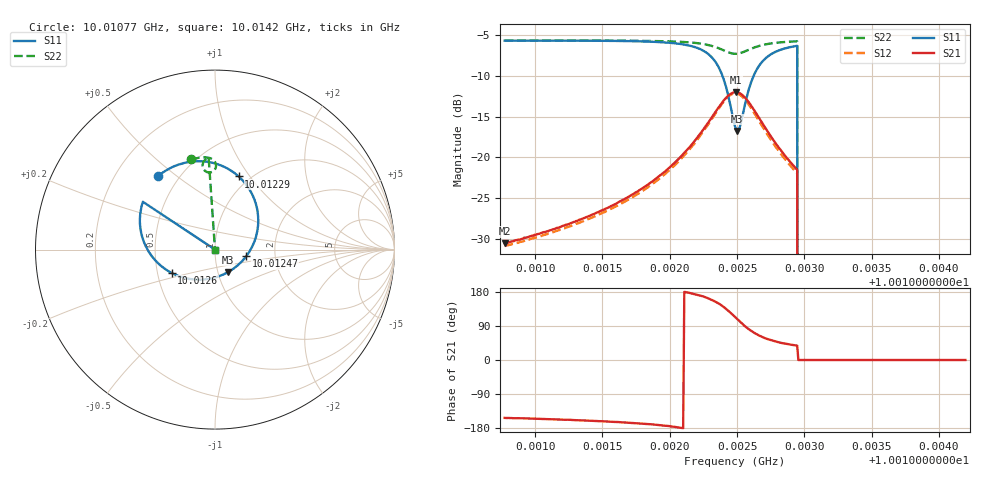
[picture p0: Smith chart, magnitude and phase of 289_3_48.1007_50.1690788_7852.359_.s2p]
#  HZ  S  RI  R  50.00
! Rohde & Schwarz Vector Network Analyzer
! Rohde-Schwarz,ZNB20-2Port,1311601062101988,3.16
! Created: UTC 12/23/2023, 4:03:34 AM
! freq[Hz]  re:S11  im:S11  re:S21  im:S21  re:S12  im:S12  re:S22  im:S22
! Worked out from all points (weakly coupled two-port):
!   401 points, 10.01077 GHz to 10.0142 GHz, reference 50 ohm
!   highest |S21| = -12.02 dB at 10.01249 GHz (marker M1); lowest = -30.6 dB at 10.01077 GHz (marker M2)
!   lowest |S11| = -16.8 dB at 10.0125 GHz (marker M3), VSWR 1.34, Z = 56.1 - j14.3 ohm
!   |S11| at or under -10 dB: 10.01239 GHz to 10.01262 GHz (232.3 kHz wide, 0.00232 % of centre); 10.01295 GHz to end of sweep
!   |S22| runs from - to -5.7 dB; largest |S21 - S12| = 0.011
!   S11 on the Smith chart (normalised r, x): 10.01077 GHz: 0.38, +0.43; 10.01229 GHz: 0.89, +0.89; 10.01247 GHz: 1.42, -0.11; 10.0126 GHz: 0.59, -0.17; 10.0142 GHz: 1.00, +0.00
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1.0010773e10  -0.3182 0.4096  -0.0264 -0.0136  -0.0246 -0.0145  -0.1334 0.5025
1.0011346e10  -0.2603 0.4482  -0.0392 -0.0148  -0.0369 -0.0163  -0.0937 0.511
1.001192e10  -0.1371 0.4895  -0.0758 -0.0109  -0.0721 -0.015  -0.0455 0.5134
1.0012159e10  -0.00159 0.4805  -0.1184 0.00833  -0.1152 0.00123  -0.0171 0.5048
1.0012288e10  0.1321 0.4074  -0.1564 0.0497  -0.1553 0.0392  0.000567 0.4872
1.0012339e10  0.1939 0.3321  -0.17 0.0837  -0.1712 0.0726  0.0052 0.4738
1.0012391e10  0.2376 0.2106  -0.1728 0.1322  -0.176 0.1217  0.00424 0.4565
1.0012433e10  0.2293 0.0748  -0.1543 0.1814  -0.1602 0.1716  -0.00495 0.4407
1.0012468e10  0.1741 -0.0373  -0.1222 0.2165  -0.128 0.2086  -0.0187 0.4321
1.0012485e10  0.1287 -0.086  -0.1012 0.2292  -0.1057 0.2226  -0.0269 0.43
1.0012493e10  0.1029 -0.1064  -0.0898 0.2339  -0.0946 0.2272  -0.031 0.4297
1.0012502e10  0.0739 -0.1247  -0.0773 0.2379  -0.0822 0.2313  -0.0355 0.4299
1.0012545e10  -0.0809 -0.1677  -0.015 0.2383  -0.0208 0.2316  -0.0543 0.4375
1.0012596e10  -0.2421 -0.1299  0.0407 0.2086  0.0331 0.2027  -0.0669 0.4546
1.0012647e10  -0.3429 -0.048  0.0696 0.1692  0.0626 0.1638  -0.069 0.4721
1.0012716e10  -0.4024 0.0601  0.0822 0.1243  0.0741 0.1214  -0.0636 0.4888
1.001281e10  -0.4185 0.1705  0.0788 0.0835  0.0719 0.0823  -0.0519 0.5027
1.001293e10  -0.4046 0.2571  0.0677 0.0544  0.0618 0.0546  -0.0373 0.5115
1.0012973e10  0 0  0 0  0 0  0 0
1.0013058e10  0 0  0 0  0 0  0 0
1.0013632e10  0 0  0 0  0 0  0 0
1.0014197e10  0 0  0 0  0 0  0 0
